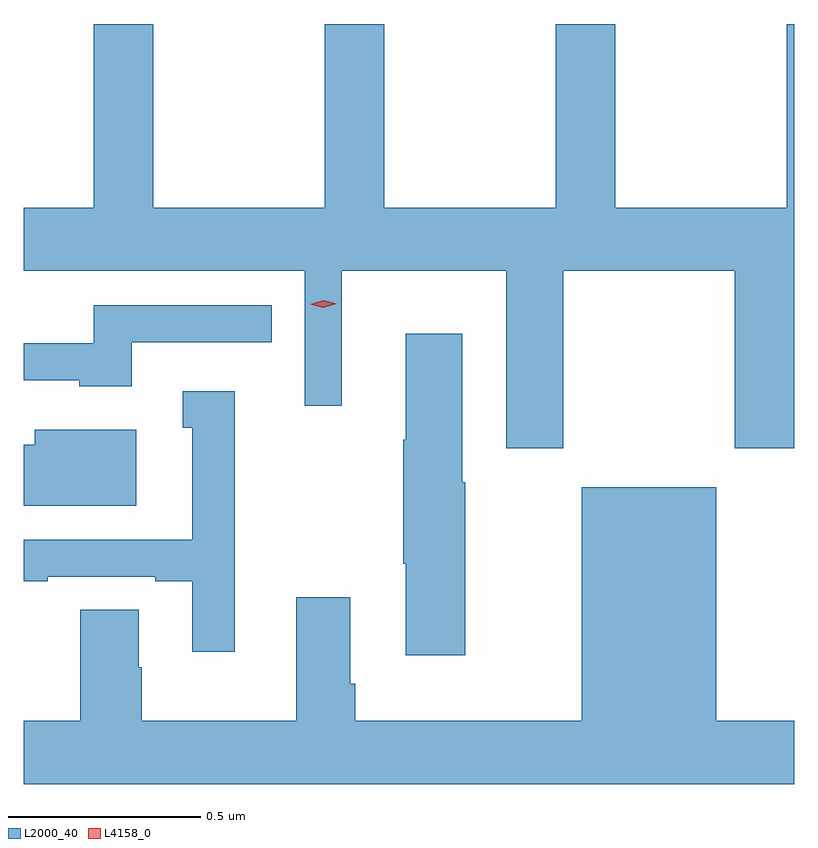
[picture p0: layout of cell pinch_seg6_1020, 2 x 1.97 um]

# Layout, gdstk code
import gdstk
lib = gdstk.Library(unit=1e-6, precision=1e-09)
def P(c, l, *ps):  # polygons
    for p in ps: c.add(gdstk.Polygon(p, *l))
L2000_40 = (2000, 40)
L4158_0 = (4158, 0)

pinch_seg6_1020 = lib.new_cell('pinch_seg6_1020')
P(pinch_seg6_1020, L2000_40, [(247.887,922.028),(248.332,922.028),(248.332,921.567),(248.486,921.567),(248.486,922.669),(248.467,922.669),(248.467,922.192),(248.022,922.192),(248.022,922.669),(247.867,922.669),(247.867,922.192),(247.422,922.192),(247.422,922.669),(247.267,922.669),(247.267,922.192),(246.822,922.192),(246.822,922.669),(246.667,922.669),(246.667,922.192),(246.486,922.192),(246.486,922.028),(247.215,922.028),(247.215,921.678),(247.312,921.678),(247.312,922.028),(247.739,922.028),(247.739,921.567),(247.887,921.567)],
  [(246.766,921.843),(247.13,921.843),(247.13,921.939),(246.667,921.939),(246.667,921.84),(246.486,921.84),(246.486,921.744),(246.63,921.744),(246.63,921.728),(246.766,921.728)],
  [(247.632,921.479),(247.624,921.479),(247.624,921.865),(247.478,921.865),(247.478,921.59),(247.471,921.59),(247.471,921.268),(247.478,921.268),(247.478,921.03),(247.632,921.03)],
  [(247.033,921.715),(246.899,921.715),(246.899,921.621),(246.923,921.621),(246.923,921.33),(246.486,921.33),(246.486,921.222),(246.548,921.222),(246.548,921.234),(246.827,921.234),(246.827,921.222),(246.923,921.222),(246.923,921.039),(247.033,921.039)],
  [(246.778,921.616),(246.515,921.616),(246.515,921.577),(246.486,921.577),(246.486,921.419),(246.778,921.419)],
  [(248.486,920.86),(248.284,920.86),(248.284,921.466),(247.934,921.466),(247.934,920.86),(247.346,920.86),(247.346,920.956),(247.333,920.956),(247.333,921.181),(247.193,921.181),(247.193,920.86),(246.792,920.86),(246.792,920.999),(246.784,920.999),(246.784,921.149),(246.632,921.149),(246.632,920.86),(246.486,920.86),(246.486,920.696),(248.486,920.696)])
P(pinch_seg6_1020, L4158_0, [(247.264,921.932),(247.229,921.941),(247.229,921.941),(247.229,921.942),(247.264,921.952),(247.299,921.943),(247.299,921.943),(247.299,921.943)])

lib.write_gds('pinch_seg6_1020.gds')
